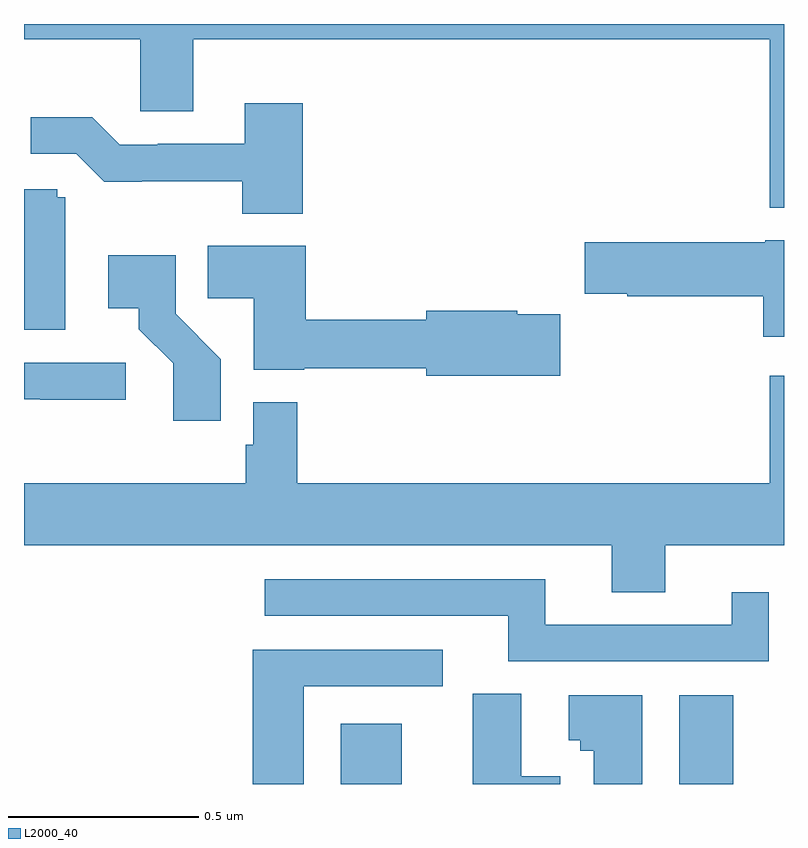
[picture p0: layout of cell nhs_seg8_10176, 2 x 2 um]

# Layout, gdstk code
import gdstk
lib = gdstk.Library(unit=1e-6, precision=1e-09)
def R(c, l, rs):  # rectangles x0, y0, x1, y1
    for r in rs: c.add(gdstk.rectangle(r[:2], r[2:], *l))
def P(c, l, *ps):  # polygons
    for p in ps: c.add(gdstk.Polygon(p, *l))
L2000_40 = (2000, 40)

nhs_seg8_10176 = lib.new_cell('nhs_seg8_10176')
R(nhs_seg8_10176, L2000_40, [(246.833,1087.9,246.994,1088.059), (247.724,1087.9,247.867,1088.134)])
P(nhs_seg8_10176, L2000_40, [(248,1089.9),(246,1089.9),(246,1089.86),(246.306,1089.86),(246.306,1089.67),(246.445,1089.67),(246.445,1089.86),(247.962,1089.86),(247.962,1089.416),(248,1089.416)],
  [(246.734,1089.691),(246.581,1089.691),(246.581,1089.585),(246.352,1089.585),(246.352,1089.582),(246.252,1089.582),(246.179,1089.655),(246.018,1089.655),(246.018,1089.558),(246.138,1089.558),(246.211,1089.485),(246.31,1089.485),(246.31,1089.486),(246.574,1089.486),(246.574,1089.401),(246.734,1089.401)],
  [(246.109,1089.444),(246.087,1089.444),(246.087,1089.465),(246,1089.465),(246,1089.096),(246.109,1089.096)],
  [(248,1089.331),(247.95,1089.331),(247.95,1089.326),(247.476,1089.326),(247.476,1089.19),(247.588,1089.19),(247.588,1089.184),(247.946,1089.184),(247.946,1089.077),(248,1089.077)],
  [(247.411,1089.136),(247.298,1089.136),(247.298,1089.146),(247.058,1089.146),(247.058,1089.122),(246.742,1089.122),(246.742,1089.316),(246.484,1089.316),(246.484,1089.178),(246.605,1089.178),(246.605,1088.99),(246.738,1088.99),(246.738,1088.994),(247.058,1088.994),(247.058,1088.975),(247.411,1088.975)],
  [(246.518,1089.018),(246.399,1089.137),(246.399,1089.292),(246.222,1089.292),(246.222,1089.152),(246.302,1089.152),(246.302,1089.097),(246.393,1089.007),(246.393,1088.856),(246.518,1088.856)],
  [(246.268,1089.009),(246,1089.009),(246,1088.913),(246.043,1088.913),(246.043,1088.911),(246.268,1088.911)],
  [(247.687,1088.528),(248,1088.528),(248,1088.974),(247.962,1088.974),(247.962,1088.692),(246.719,1088.692),(246.719,1088.905),(246.603,1088.905),(246.603,1088.793),(246.583,1088.793),(246.583,1088.692),(246,1088.692),(246,1088.528),(247.547,1088.528),(247.547,1088.404),(247.687,1088.404)],
  [(247.96,1088.404),(247.862,1088.404),(247.862,1088.319),(247.372,1088.319),(247.372,1088.439),(246.633,1088.439),(246.633,1088.343),(247.274,1088.343),(247.274,1088.223),(247.96,1088.223)],
  [(246.736,1088.157),(247.102,1088.157),(247.102,1088.253),(246.602,1088.253),(246.602,1087.9),(246.736,1087.9)],
  [(247.411,1087.92),(247.309,1087.92),(247.309,1088.137),(247.181,1088.137),(247.181,1087.9),(247.411,1087.9)],
  [(247.627,1088.134),(247.433,1088.134),(247.433,1088.015),(247.464,1088.015),(247.464,1087.987),(247.499,1087.987),(247.499,1087.9),(247.627,1087.9)])

lib.write_gds('nhs_seg8_10176.gds')
